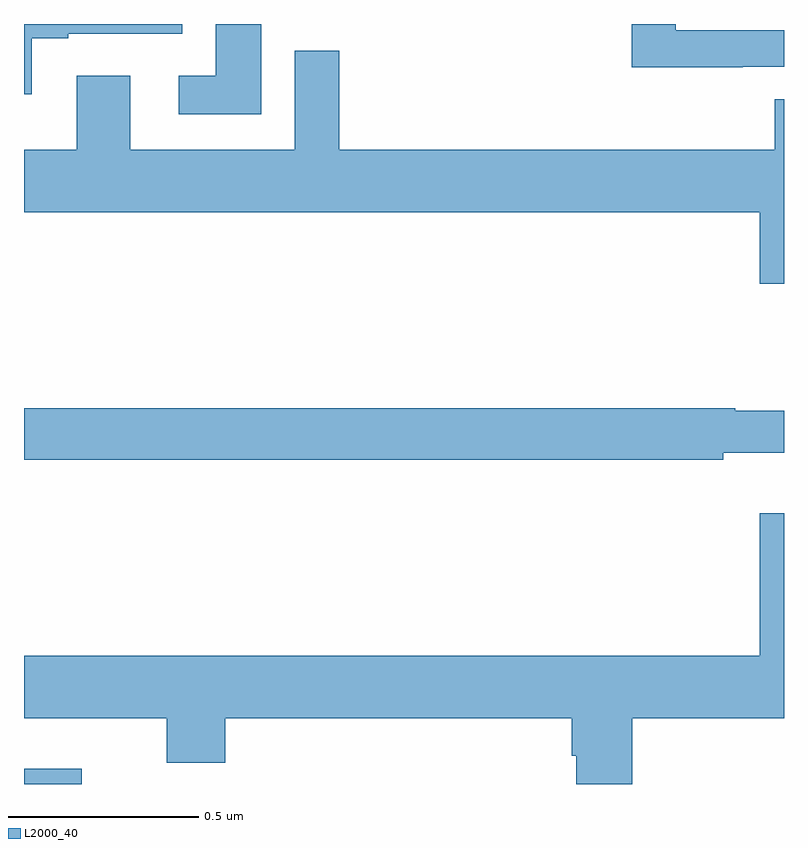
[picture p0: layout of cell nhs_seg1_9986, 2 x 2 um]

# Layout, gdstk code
import gdstk
lib = gdstk.Library(unit=1e-6, precision=1e-09)
def R(c, l, rs):  # rectangles x0, y0, x1, y1
    for r in rs: c.add(gdstk.rectangle(r[:2], r[2:], *l))
def P(c, l, *ps):  # polygons
    for p in ps: c.add(gdstk.Polygon(p, *l))
L2000_40 = (2000, 40)

nhs_seg1_9986 = lib.new_cell('nhs_seg1_9986')
R(nhs_seg1_9986, L2000_40, [(235,578.199,235.152,578.239)])
P(nhs_seg1_9986, L2000_40, [(235.021,580.161),(235.117,580.161),(235.117,580.173),(235.417,580.173),(235.417,580.199),(235,580.199),(235,580.014),(235.021,580.014)],
  [(236.891,580.086),(237,580.086),(237,580.182),(236.715,580.182),(236.715,580.199),(236.599,580.199),(236.599,580.085),(236.891,580.085)],
  [(235.624,580.199),(235.505,580.199),(235.505,580.063),(235.407,580.063),(235.407,579.962),(235.624,579.962)],
  [(237,580.001),(236.975,580.001),(236.975,579.868),(235.829,579.868),(235.829,580.129),(235.713,580.129),(235.713,579.868),(235.279,579.868),(235.279,580.063),(235.139,580.063),(235.139,579.868),(235,579.868),(235,579.704),(236.936,579.704),(236.936,579.516),(237,579.516)],
  [(236.84,579.071),(237,579.071),(237,579.181),(236.872,579.181),(236.872,579.188),(235,579.188),(235,579.052),(236.84,579.052)],
  [(236.601,578.372),(237,578.372),(237,578.911),(236.936,578.911),(236.936,578.536),(235,578.536),(235,578.372),(235.376,578.372),(235.376,578.255),(235.529,578.255),(235.529,578.372),(236.441,578.372),(236.441,578.274),(236.453,578.274),(236.453,578.199),(236.601,578.199)])

lib.write_gds('nhs_seg1_9986.gds')
